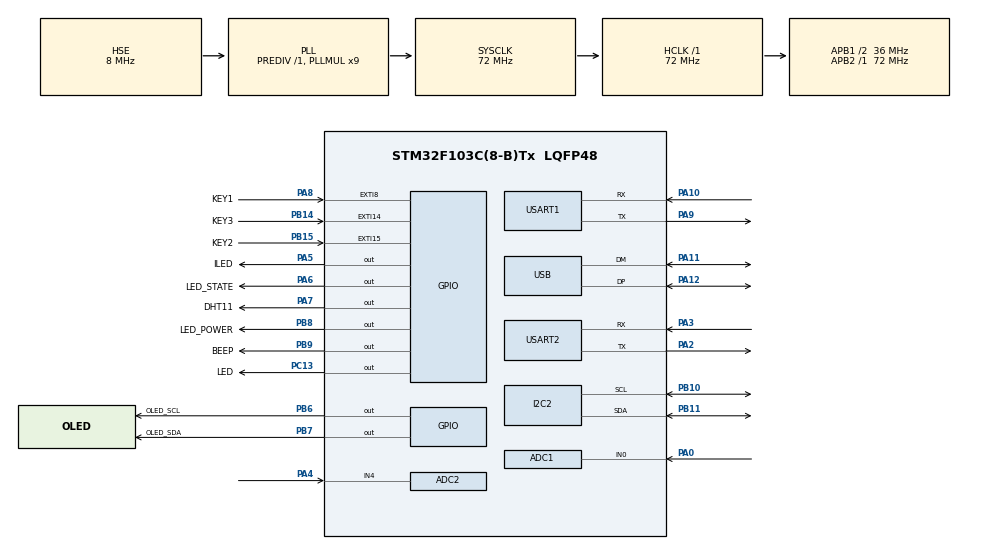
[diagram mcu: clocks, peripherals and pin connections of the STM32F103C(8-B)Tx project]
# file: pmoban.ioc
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ADC1.Channel-0\#ChannelRegularConversion=ADC_CHANNEL_0
ADC1.ContinuousConvMode=DISABLE
ADC1.DiscontinuousConvMode=DISABLE
ADC1.NbrOfConversion=1
ADC1.NbrOfConversionFlag=1
ADC1.Rank-0\#ChannelRegularConversion=1
ADC1.SamplingTime-0\#ChannelRegularConversion=ADC_SAMPLETIME_55CYCLES_5
ADC1.master=1
ADC2.Channel-0\#ChannelRegularConversion=ADC_CHANNEL_4
ADC2.NbrOfConversion=1
ADC2.NbrOfConversionFlag=1
ADC2.Rank-0\#ChannelRegularConversion=1
ADC2.SamplingTime-0\#ChannelRegularConversion=ADC_SAMPLETIME_239CYCLES_5
Dma.ADC1.1.Direction=DMA_PERIPH_TO_MEMORY
Dma.ADC1.1.Instance=DMA1_Channel1
Dma.ADC1.1.MemDataAlignment=DMA_MDATAALIGN_HALFWORD
Dma.ADC1.1.MemInc=DMA_MINC_ENABLE
Dma.ADC1.1.Mode=DMA_CIRCULAR
Dma.ADC1.1.PeriphDataAlignment=DMA_PDATAALIGN_HALFWORD
Dma.ADC1.1.PeriphInc=DMA_PINC_DISABLE
Dma.ADC1.1.Priority=DMA_PRIORITY_LOW
Dma.Request0=USART2_RX
Dma.Request1=ADC1
Dma.USART2_RX.0.Direction=DMA_PERIPH_TO_MEMORY
Dma.USART2_RX.0.Instance=DMA1_Channel6
Dma.USART2_RX.0.MemDataAlignment=DMA_MDATAALIGN_BYTE
Dma.USART2_RX.0.MemInc=DMA_MINC_ENABLE
Dma.USART2_RX.0.Mode=DMA_NORMAL
Dma.USART2_RX.0.PeriphDataAlignment=DMA_PDATAALIGN_BYTE
Dma.USART2_RX.0.PeriphInc=DMA_PINC_DISABLE
Dma.USART2_RX.0.Priority=DMA_PRIORITY_LOW
Mcu.Family=STM32F1
Mcu.Name=STM32F103C(8-B)Tx
Mcu.Package=LQFP48
NVIC.DMA1_Channel1_IRQn=true\:0\:0\:false\:false\:true\:false\:true\:true
NVIC.DMA1_Channel6_IRQn=true\:0\:0\:false\:false\:true\:false\:true\:true
NVIC.EXTI15_10_IRQn=true\:0\:0\:false\:false\:true\:true\:true\:true
NVIC.EXTI9_5_IRQn=true\:0\:0\:true\:false\:true\:true\:true\:true
NVIC.PriorityGroup=NVIC_PRIORITYGROUP_4
NVIC.TIM2_IRQn=true\:1\:0\:true\:false\:true\:true\:true\:true
NVIC.TIM3_IRQn=true\:2\:0\:true\:false\:true\:true\:true\:true
NVIC.USART1_IRQn=true\:0\:0\:false\:false\:true\:true\:true\:true
NVIC.USART2_IRQn=true\:0\:0\:false\:false\:true\:true\:true\:true
NVIC.USB_LP_CAN1_RX0_IRQn=true\:0\:0\:false\:false\:true\:false\:true\:true
PA0-WKUP.Signal=ADCx_IN0
PA10.Mode=Asynchronous
PA10.Signal=USART1_RX
PA11.Mode=Device
PA11.Signal=USB_DM
PA12.Mode=Device
PA12.Signal=USB_DP
PA13.Mode=Serial_Wire
PA13.Signal=SYS_JTMS-SWDIO
PA14.Mode=Serial_Wire
PA14.Signal=SYS_JTCK-SWCLK
PA2.Mode=Asynchronous
PA2.Signal=USART2_TX
PA3.Mode=Asynchronous
PA3.Signal=USART2_RX
PA4.Signal=ADCx_IN4
PA5.GPIO_Label=ILED
PA5.Signal=GPIO_Output
PA6.GPIO_Label=LED_STATE
PA6.Signal=GPIO_Output
PA7.GPIO_Label=DHT11
PA7.Signal=GPIO_Output
PA8.GPIO_Label=KEY1
PA8.GPIO_ModeDefaultEXTI=GPIO_MODE_IT_FALLING
PA8.GPIO_PuPd=GPIO_PULLUP
PA8.Signal=GPXTI8
PA9.Mode=Asynchronous
PA9.Signal=USART1_TX
PB10.Mode=I2C
PB10.Signal=I2C2_SCL
PB11.Mode=I2C
PB11.Signal=I2C2_SDA
PB14.GPIO_Label=KEY3
PB14.GPIO_ModeDefaultEXTI=GPIO_MODE_IT_FALLING
PB14.GPIO_PuPd=GPIO_PULLUP
PB14.Signal=GPXTI14
PB15.GPIO_Label=KEY2
PB15.GPIO_ModeDefaultEXTI=GPIO_MODE_IT_FALLING
PB15.GPIO_PuPd=GPIO_PULLUP
PB15.Signal=GPXTI15
PB6.GPIO_Label=OLED_SCL
PB6.GPIO_ModeDefaultOutputPP=GPIO_MODE_OUTPUT_OD
PB6.GPIO_PuPd=GPIO_PULLUP
PB6.GPIO_Speed=GPIO_SPEED_FREQ_HIGH
PB6.PinState=GPIO_PIN_SET
PB6.Signal=GPIO_Output
PB7.GPIO_Label=OLED_SDA
PB7.GPIO_ModeDefaultOutputPP=GPIO_MODE_OUTPUT_OD
PB7.GPIO_PuPd=GPIO_PULLUP
PB7.GPIO_Speed=GPIO_SPEED_FREQ_HIGH
PB7.PinState=GPIO_PIN_SET
PB7.Signal=GPIO_Output
PB8.GPIO_Label=LED_POWER
PB8.Signal=GPIO_Output
PB9.GPIO_Label=BEEP
PB9.GPIO_PuPd=GPIO_PULLUP
PB9.Signal=GPIO_Output
PC13-TAMPER-RTC.GPIO_Label=LED
PC13-TAMPER-RTC.Signal=GPIO_Output
PC14-OSC32_IN.Mode=LSE-External-Oscillator
PC14-OSC32_IN.Signal=RCC_OSC32_IN
PC15-OSC32_OUT.Mode=LSE-External-Oscillator
PC15-OSC32_OUT.Signal=RCC_OSC32_OUT
PD0-OSC_IN.Mode=HSE-External-Oscillator
PD0-OSC_IN.Signal=RCC_OSC_IN
PD1-OSC_OUT.Mode=HSE-External-Oscillator
PD1-OSC_OUT.Signal=RCC_OSC_OUT
ProjectManager.HeapSize=0x800
ProjectManager.StackSize=0x800
ProjectManager.TargetToolchain=MDK-ARM V5
RCC.ADCPresc=RCC_ADCPCLK2_DIV6
RCC.AHBFreq_Value=72000000
RCC.APB1CLKDivider=RCC_HCLK_DIV2
RCC.APB1Freq_Value=36000000
RCC.APB1TimFreq_Value=72000000
RCC.APB2Freq_Value=72000000
RCC.APB2TimFreq_Value=72000000
RCC.HCLKFreq_Value=72000000
RCC.PLLMUL=RCC_PLL_MUL9
RCC.PLLSourceVirtual=RCC_PLLSOURCE_HSE
RCC.SYSCLKFreq_VALUE=72000000
RCC.SYSCLKSource=RCC_SYSCLKSOURCE_PLLCLK
RCC.USBFreq_Value=48000000
RCC.USBPrescaler=RCC_USBCLKSOURCE_PLL_DIV1_5
SH.ADCx_IN0.0=ADC1_IN0,IN0
SH.ADCx_IN4.0=ADC2_IN4,IN4
TIM2.Period=1000-1
TIM2.Prescaler=71
TIM3.Period=1000-1
TIM3.Prescaler=71
USART1.VirtualMode=VM_ASYNC
USART2.VirtualMode=VM_ASYNC
USB_DEVICE.CLASS_NAME_FS=CDC
USB_DEVICE.VirtualMode=Cdc
USB_DEVICE.VirtualModeFS=Cdc_FS
VP_IWDG_VS_IWDG.Mode=IWDG_Activate
VP_TIM2_VS_ClockSourceINT.Mode=Internal
VP_TIM3_VS_ClockSourceINT.Mode=Internal
VP_USB_DEVICE_VS_USB_DEVICE_CDC_FS.Mode=CDC_FS
board=custom

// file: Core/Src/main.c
/* USER CODE BEGIN Header */
/**
  ******************************************************************************
  * @file           : main.c
  * @brief          : Main program body
  ******************************************************************************
  * @attention
  *
  * Copyright (c) 2025 STMicroelectronics.
  * All rights reserved.
  *
  * This software is licensed under terms that can be found in the LICENSE file
  * in the root directory of this software component.
  * If no LICENSE file comes with this software, it is provided AS-IS.
  *
  ******************************************************************************
  */
/* USER CODE END Header */
#include "main.h"
#include "adc.h"
#include "dma.h"
#include "i2c.h"
#include "iwdg.h"
#include "tim.h"
#include "usart.h"
#include "usb_device.h"
#include "gpio.h"

/* USER CODE BEGIN Includes */
#include "OLED.h"
#include <stdlib.h>
#include "string.h"
#include "dht11.h"
#include "button.h"
#include "beep.h"
#include "mqt135.h"
#include <string.h>
#include "My_esp8266.h"
#include "cjson.h"
#include "bmp180.h"
#include "pm25_sensor.h"

//#include "DATA.h"
/* USER CODE END Includes */

/* USER CODE BEGIN PM */

// 共享的环境数据
float temperature = 1.0;
float density = 1.0;
uint8_t humidity = 1;
uint16_t airQuality = 0;

// 共享的报警阈值
uint8_t selectedThresholdIndex = 0; // 默认选中第 0 行（温度）

float tempThreshold = 30.0;
uint8_t humiThreshold = 60;
uint16_t airQThreshold = 200;
int pressThreshold = 1010;
float pm25Threshold = 75.0;

//BMP180Data_T g_tBMP180 = {0};
uint8_t ThresholdsChanged = 1; // 阈值是否被改变
uint8_t not_init = 1; // 是否初始化完成，初始化完成才显示数据页面
uint8_t BEEP_STATUS = 0;// 0关闭蜂鸣器 1打开
/* USER CODE END PM */

/* USER CODE BEGIN PV */

// ------- ESP8266 -------------
uint8_t esp_buff[1024] = {0};
uint16_t esp_cnt = 0;
// ------- ESP8266 -------------

volatile OLED_Page_t currentPage = PAGE_SENSOR_DATA; // OLED 页数 变量定义

/* USER CODE END PV */

void SystemClock_Config(void);
/* USER CODE BEGIN PFP */

// 发送到阿里云的数据模型
typedef struct {
    float temp;
    uint8_t humi;
    uint16_t airque;
    uint16_t airpress;
    float PM;
} SensorData;

void Ali_Yun_Send(SensorData *sensor);
/* USER CODE END PFP */

/* USER CODE BEGIN 0 */

#define SYS_VOLTAGE 5.0
float adc1_value,adc2_value;
void Test_ADC_Readings(void) {
    uint32_t adc1_value, adc2_value;
    float voltage1, voltage2;

    // 读取 ADC1
    HAL_ADC_Start(&hadc1);  // 启动 ADC1
    HAL_ADC_PollForConversion(&hadc1, HAL_MAX_DELAY);  // 等待转换完成
    adc1_value = HAL_ADC_GetValue(&hadc1);  // 获取 ADC1 值
    HAL_ADC_Stop(&hadc1);  // 停止 ADC1

    // 读取 ADC2
    HAL_ADC_Start(&hadc2);  // 启动 ADC2
    HAL_ADC_PollForConversion(&hadc2, HAL_MAX_DELAY);  // 等待转换完成
    adc2_value = HAL_ADC_GetValue(&hadc2);  // 获取 ADC2 值
    HAL_ADC_Stop(&hadc2);  // 停止 ADC2

    // 计算电压
    voltage1 = (SYS_VOLTAGE / 4096.0) * adc1_value;
    voltage2 = (SYS_VOLTAGE / 4096.0) * adc2_value;

    // 打印 ADC 结果
    printf("ADC1 Value: %lu, Voltage: %.3f V\n", adc1_value, voltage1);
    printf("ADC2 Value: %lu, Voltage: %.3f V\n", adc2_value, voltage2);
}

/* USER CODE END 0 */

int main(void)
{

  /* MCU Configuration--------------------------------------------------------*/

  /* Reset of all peripherals, Initializes the Flash interface and the Systick. */
  HAL_Init();

  /* Configure the system clock */
  SystemClock_Config();

  /* Initialize all configured peripherals */
  MX_GPIO_Init();
  MX_DMA_Init();
  MX_TIM2_Init();
  MX_USART1_UART_Init();
  MX_TIM3_Init();
  MX_USART2_UART_Init();
  MX_ADC1_Init();
  MX_I2C2_Init();
  MX_ADC2_Init();
  MX_IWDG_Init();
  MX_USB_DEVICE_Init();
  /* USER CODE BEGIN 2 */
  HAL_TIM_Base_Start_IT(&htim2); // 开启中断
  HAL_TIM_Base_Start_IT(&htim3); // 开启中断
  BMP180_Init();
  PM25_Init(); // 初始化 PM2.5 传感器
  OLED_Init(); // OLED 初始化
  HAL_Delay(300);

  OLED_Clear();
  OLED_ShowString(2, 0, "Init WIFI ...", OLED_8X16);

  OLED_Update();
  // -------阿里云MQTT初始化-----------
  ESP8266_Init();
  Ali_Yun_Init();
  SensorData sensor = {25.5, 20, 88, 99, 0.7}; // 传感器数据
  // -------阿里云MQTT初始化-----------
  HAL_GPIO_WritePin(LED_STATE_GPIO_Port, LED_STATE_Pin, GPIO_PIN_SET); // 状态灯显示
  HAL_GPIO_WritePin(LED_POWER_GPIO_Port, LED_POWER_Pin, GPIO_PIN_SET); // 传输指示显示
  HAL_Delay(500);

 //---------------------
   not_init = 0; // 初始化都完成 进行数据显示
   ThresholdsChanged = 1;
  /* USER CODE END 2 */

  /* Infinite loop */
  /* USER CODE BEGIN WHILE */
  while (1)
  {
    HAL_GPIO_TogglePin(LED_POWER_GPIO_Port, LED_POWER_Pin);
    readData();  // 读取传感器数据
    CheckThreshold(); // 阈值检测开启报警

    // 更新传感器数据
    sensor.temp = temperature;
    sensor.humi = humidity;
    sensor.airque = airQuality;
    sensor.airpress = (int)(g_tBMP180.fPressure / 100);
    sensor.PM = density;
       // 检查新数据标志位
    if (newDataFlag)
    {
        // 调用解析函数
        Ali_Yun_GetRCV();
        newDataFlag = 0;  // 重置标志位
    }
    // 发送传感器数据到云端
    Ali_Yun_Send(&sensor);
    HAL_Delay(1000);  // 控制发送频率
    Send_Thresholds(); // 发送当前阈值设置

    /* USER CODE END WHILE */

  }
}

void SystemClock_Config(void)
{
  RCC_OscInitTypeDef RCC_OscInitStruct = {0};
  RCC_ClkInitTypeDef RCC_ClkInitStruct = {0};
  RCC_PeriphCLKInitTypeDef PeriphClkInit = {0};

  /** Initializes the RCC Oscillators according to the specified parameters
  * in the RCC_OscInitTypeDef structure.
  */
  RCC_OscInitStruct.OscillatorType = RCC_OSCILLATORTYPE_LSI|RCC_OSCILLATORTYPE_HSE;
  RCC_OscInitStruct.HSEState = RCC_HSE_ON;
  RCC_OscInitStruct.HSEPredivValue = RCC_HSE_PREDIV_DIV1;
  RCC_OscInitStruct.HSIState = RCC_HSI_ON;
  RCC_OscInitStruct.LSIState = RCC_LSI_ON;
  RCC_OscInitStruct.PLL.PLLState = RCC_PLL_ON;
  RCC_OscInitStruct.PLL.PLLSource = RCC_PLLSOURCE_HSE;
  RCC_OscInitStruct.PLL.PLLMUL = RCC_PLL_MUL9;
  if (HAL_RCC_OscConfig(&RCC_OscInitStruct) != HAL_OK)
  {
    Error_Handler();
  }

  /** Initializes the CPU, AHB and APB buses clocks
  */
  RCC_ClkInitStruct.ClockType = RCC_CLOCKTYPE_HCLK|RCC_CLOCKTYPE_SYSCLK
                              |RCC_CLOCKTYPE_PCLK1|RCC_CLOCKTYPE_PCLK2;
  RCC_ClkInitStruct.SYSCLKSource = RCC_SYSCLKSOURCE_PLLCLK;
  RCC_ClkInitStruct.AHBCLKDivider = RCC_SYSCLK_DIV1;
  RCC_ClkInitStruct.APB1CLKDivider = RCC_HCLK_DIV2;
  RCC_ClkInitStruct.APB2CLKDivider = RCC_HCLK_DIV1;

  if (HAL_RCC_ClockConfig(&RCC_ClkInitStruct, FLASH_LATENCY_2) != HAL_OK)
  {
    Error_Handler();
  }
  PeriphClkInit.PeriphClockSelection = RCC_PERIPHCLK_ADC|RCC_PERIPHCLK_USB;
  PeriphClkInit.AdcClockSelection = RCC_ADCPCLK2_DIV6;
  PeriphClkInit.UsbClockSelection = RCC_USBCLKSOURCE_PLL_DIV1_5;
  if (HAL_RCCEx_PeriphCLKConfig(&PeriphClkInit) != HAL_OK)
  {
    Error_Handler();
  }
}

/* USER CODE BEGIN 4 */

//阿里云数据上传
/*
    sensor.temp = temperature; // 四舍五入到一位小数
    sensor.humi = humidity;     // 更新湿度
    sensor.airque = airQuality; // 更新空气质量
    sensor.airpress =  (int)(g_tBMP180.fPressure / 100);
    sensor.PM = density;
*/
void Send_Thresholds(void) {
    if(!ThresholdsChanged) return;
    char json_buf[256];  // JSON 数据缓冲区
    char msg_buf[512];   // AT 指令缓冲区

    // 1. 创建 cJSON 对象
    cJSON *root = cJSON_CreateObject();
    if (root == NULL) {
        printf("Error creating JSON object.\n");
        return;  // 错误处理
    }

    cJSON *params = cJSON_CreateObject();
    if (params == NULL) {
        cJSON_Delete(root);
        printf("Error creating JSON params object.\n");
        return;  // 错误处理
    }

    cJSON_AddItemToObject(root, "params", params);

    // 2. 添加阈值数据
    cJSON_AddNumberToObject(params, "tempThreshold", tempThreshold); // 温度阈值
    cJSON_AddNumberToObject(params, "humiThreshold", humiThreshold); // 湿度阈值
    cJSON_AddNumberToObject(params, "airQThreshold", airQThreshold); // 空气质量阈值
    cJSON_AddNumberToObject(params, "pressThreshold", pressThreshold); // 压力阈值
    cJSON_AddNumberToObject(params, "pm25Threshold", pm25Threshold); // PM2.5 阈值

    // 3. 生成 JSON 字符串
    char *json_str = cJSON_PrintUnformatted(root);
    cJSON_Delete(root); // 释放 JSON 对象

    if (json_str == NULL) {
        printf("Error creating JSON string.\n");
        return;  // 错误处理
    }

    // 4. 手动替换逗号 "," 和双引号 "\"" 为 "\,"
    int i, j = 0;
    for (i = 0; json_str[i] != '\0'; i++) {
        if (json_str[i] == ',' || json_str[i] == '\"') {
            json_buf[j++] = '\\';  // 插入转义字符 "\"
        }
        json_buf[j++] = json_str[i];
    }
    json_buf[j] = '\0'; // 确保字符串以 null 结尾

    // 5. 组合 AT 指令
    snprintf(msg_buf, sizeof(msg_buf),
             "AT+MQTTPUB=0,\"/sys/k282yy0B25v/ESP8266_dev/thing/event/property/post\",\"%s\",0,0\r\n",
             json_buf);

    // 6. 调试输出 & 发送数据
    //printf("调试 JSON: %s\n", json_buf);
    //printf("开始发送数据: %s\r\n", msg_buf);
    ESP8266_SendCmd(msg_buf, "OK");
    ESP8266_Clear();

    // 7. 释放 JSON 字符串
    free(json_str);
    ThresholdsChanged = 0;
}

void Ali_Yun_Send(SensorData *sensor) {
    char json_buf[128];
    char msg_buf[256];
    char tempStr[10];
    char PMStr[10];

    // 1. 格式化温度，保留一位小数
    snprintf(tempStr, sizeof(tempStr), "%.1f", sensor->temp);
    // 1. 格式化PM，保留两位小数
    snprintf(PMStr, sizeof(PMStr), "%.2f", sensor->PM);

    // 2. 创建 cJSON 对象
    cJSON *root = cJSON_CreateObject();
    cJSON *params = cJSON_CreateObject();
    cJSON_AddItemToObject(root, "params", params);

    // 使用格式化后的浮点数值而非字符串
    cJSON_AddNumberToObject(params, "temp", atof(tempStr)); // 转换为浮点数
    cJSON_AddNumberToObject(params, "humi", sensor->humi);
    cJSON_AddNumberToObject(params, "airque", sensor->airque);
    cJSON_AddNumberToObject(params, "airpress", sensor->airpress);
    cJSON_AddNumberToObject(params, "PM", atof(PMStr));

    // 3. 生成 JSON 字符串
    char *json_str = cJSON_PrintUnformatted(root);
    cJSON_Delete(root); // 释放 JSON 对象

    // 4. 手动替换逗号 "," 和双引号 "\"" 为 "\,"
    int i, j = 0;
    for (i = 0; json_str[i] != '\0'; i++) {
        if (json_str[i] == ',' || json_str[i] == '\"') {
            json_buf[j++] = '\\';  // 插入转义字符 "\"
        }
        json_buf[j++] = json_str[i];
    }
    json_buf[j] = '\0'; // 确保字符串以 null 结尾

    // 5. 组合 AT 指令
    snprintf(msg_buf, sizeof(msg_buf),
             "AT+MQTTPUB=0,\"/sys/k282yy0B25v/ESP8266_dev/thing/event/property/post\",\"%s\",0,0\r\n",
             json_buf);

    // 6. 调试输出 & 发送数据
    //printf("调试 JSON: %s\n", json_buf);
    //printf("开始发送数据: %s\r\n", msg_buf);
    ESP8266_SendCmd(msg_buf, "OK");
    ESP8266_Clear();

    // 7. 释放 JSON 字符串
    free(json_str);
}

/// 定义最大尝试次数
#define MAX_RETRY_COUNT 3

// MQTT 数据解析函数
void Ali_Yun_GetRCV(void)
{
    cJSON *cjson = NULL;
    int num;
    char topic_buff[256];
    char recv_buffer[ESPBUFF_MAX_SIZE];
    char *ptr_recv = strstr((const char *)esp_buff, "+MQTTSUBRECV");

    if (ptr_recv != NULL)  // 存在接收到的 MQTT 订阅消息
    {
        memset(topic_buff, 0, sizeof(topic_buff));
        sscanf((char *)esp_buff, "+MQTTSUBRECV:0,%[^,],%d,%s", topic_buff, &num, recv_buffer);

        if (strstr(topic_buff, ALI_TOPIC_SET))  // 确认接收到的主题是指定主题
        {
            int retry_count = 0;
            while (retry_count < MAX_RETRY_COUNT)
            {
                cjson = cJSON_Parse(recv_buffer);
                if (cjson != NULL)  // 解析成功
                {
                    cJSON *items = cJSON_GetObjectItem(cjson, "items");
                    if (items != NULL)  // 如果找到 items 对象
                    {
                        // 解析温度阈值
                        cJSON *tempThresholdItem = cJSON_GetObjectItem(items, "tempThreshold");
                        if (tempThresholdItem != NULL)
                        {
                            cJSON *value = cJSON_GetObjectItem(tempThresholdItem, "value");
                            if (value != NULL && cJSON_IsNumber(value))
                            {
                                tempThreshold = (float)value->valuedouble;
                            }
                        }

                        // 解析湿度阈值
                        cJSON *humiThresholdItem = cJSON_GetObjectItem(items, "humiThreshold");
                        if (humiThresholdItem != NULL)
                        {
                            cJSON *value = cJSON_GetObjectItem(humiThresholdItem, "value");
                            if (value != NULL && cJSON_IsNumber(value))
                            {
                                humiThreshold = (uint8_t)value->valueint;
                            }
                        }

                        // 解析空气质量阈值
                        cJSON *airQThresholdItem = cJSON_GetObjectItem(items, "airQThreshold");
                        if (airQThresholdItem != NULL)
                        {
                            cJSON *value = cJSON_GetObjectItem(airQThresholdItem, "value");
                            if (value != NULL && cJSON_IsNumber(value))
                            {
                                airQThreshold = (uint16_t)value->valueint;
                            }
                        }

                        // 解析气压阈值
                        cJSON *pressThresholdItem = cJSON_GetObjectItem(items, "pressThreshold");
                        if (pressThresholdItem != NULL)
                        {
                            cJSON *value = cJSON_GetObjectItem(pressThresholdItem, "value");
                            if (value != NULL && cJSON_IsNumber(value))
                            {
                                pressThreshold = (int)value->valueint;
                            }
                        }

                        // 解析 PM2.5 阈值
                        cJSON *pm25ThresholdItem = cJSON_GetObjectItem(items, "pm25Threshold");
                        if (pm25ThresholdItem != NULL)
                        {
                            cJSON *value = cJSON_GetObjectItem(pm25ThresholdItem, "value");
                            if (value != NULL && cJSON_IsNumber(value))
                            {
                                pm25Threshold = (float)value->valuedouble;
                            }
                        }

                        break;  // 成功解析，跳出重试循环
                    }
                }
                retry_count++;
                HAL_Delay(100);  // 等待一段时间再重试
            }

            ESP8266_Clear();   // 清空接收缓存
            cJSON_Delete(cjson);  // 释放 cJSON 对象
            ThresholdsChanged = 1;
        }
    }
}

/*
void Ali_Yun_GetRCV(void)
{
    cJSON *cjson = NULL;  // 用于存储解析后的 cJSON 对象
    int num;  // 用于存储订阅消息的字节数
    char topic_buff[256];  // 存储订阅的主题
    char recv_buffer[ESPBUFF_MAX_SIZE];  // 存储接收到的消息内容
    char *ptr_recv = strstr((const char *)esp_buff,"+MQTTSUBRECV");  // 查找接收到的订阅消息标识符 "+MQTTSUBRECV"

    // 如果找到了订阅消息标识符
    if(ptr_recv != NULL)  // 存在接收到的MQTT订阅消息
    {
        memset(topic_buff, 0, sizeof(topic_buff));  // 清空 topic_buff
        // 解析接收到的数据，提取主题、字节数和消息内容
        sscanf((char *)esp_buff,"+MQTTSUBRECV:0,%[^,],%d,%s", topic_buff, &num, recv_buffer);

        // 判断主题是否匹配预定义的主题（ALI_TOPIC_SET）
        if(strstr(topic_buff, ALI_TOPIC_SET))  // 判断接收到的主题是否是指定的主题
        {
            printf("========================数据解析开始===========================\r\n");
            printf("接收数据成功，开始解析  %s\r\n", recv_buffer);

            // 使用 cJSON 解析接收到的消息内容
            cjson = cJSON_Parse(recv_buffer);

            // 如果 cJSON 解析失败
            if(cjson == NULL)
            {
                printf("cjson 解析错误\r\n");
                cjson_err_num++;  // 增加解析错误次数
                if(cjson_err_num > 3)  // 如果连续解析错误超过 3 次
                {
                    ESP8266_Clear();  // 清空接收缓存
                    cjson_err_num = 0;  // 重置解析错误次数
                }
                printf("========================数据解析失败===========================\r\n");
            }
            else
            {
                // 解析成功，获取 JSON 数据中的 "params" 对象
                cJSON *json_data = NULL;
                json_data = cJSON_GetObjectItem(cjson, "params");
                cjson_err_num = 0;  // 解析成功，重置解析错误次数

                // 如果 "params" 对象不存在
                if(json_data == NULL)
                {
                    printf("cjson 没有数据\r\n");
                    return;  // 如果没有数据，则直接返回
                }
                else
                {
                    // 输出解析后的 JSON 内存大小（不代表数据量，只是内存空间大小）
                    printf("cjson 内存大小为 = %d\r\n", sizeof(cjson));

                    // 解析数据部分
                    if(cJSON_GetObjectItem(json_data, "temperature") != NULL)  // 判断是否包含 "temperature" 字段
                    {
                        temp_value = cJSON_GetObjectItem(json_data, "temperature")->valuedouble;  // 获取温度值
                        printf("cjson 解析成功 temp_value = %f\r\n", temp_value);  // 输出温度值
                    }

                    if(cJSON_GetObjectItem(json_data, "Humidity") != NULL)  // 判断是否包含 "Humidity" 字段
                    {
                        humi_value = cJSON_GetObjectItem(json_data, "Humidity")->valuedouble;  // 获取湿度值
                        printf("cjson 解析成功 Humidity = %f\r\n", humi_value);  // 输出湿度值
                    }
                }
                ESP8266_Clear();  // 清空接收缓存
                cJSON_Delete(cjson);  // 释放 cJSON 对象
                printf("========================数据解析成功===========================\r\n");
            }
        }
    }
}
*/

// PAGE 1数据显示
void Display_SensorData(void) {
    char buffer[5][20]; // 存储格式化后的字符串

    sprintf(buffer[0], "Temp:   %.1f C", temperature);   // 温度（摄氏度）
    sprintf(buffer[1], "Humi:   %u RH%%", humidity);       // 湿度（百分比）
    sprintf(buffer[2], "AirQ:   %u ppm", airQuality);    // 空气质量（ppm）
    sprintf(buffer[3], "Press:  %d hPa", (int)(g_tBMP180.fPressure / 100)); // 气压（hPa）
    sprintf(buffer[4], "PM2.5:  %.2f ug/m3", density);   // PM2.5 浓度（ug/m3）

    // 清除 OLED 显示，避免残留
    OLED_Clear();

    // 逐行显示传感器数据
    for (int i = 0; i < 5; i++) {
        OLED_ShowString(2, i * 10, buffer[i], OLED_6X8);
    }
}

// 阈值显示
// PAGE 2 显示阈值设定
// PAGE 2 显示阈值设定，支持闪烁显示
void Display_Thresholds(void) {
    char buffer[5][20]; // 存储格式化后的字符串

    sprintf(buffer[0], "Temp Th:  %.1f C", tempThreshold);    // 温度阈值
    sprintf(buffer[1], "Humi Th:  %u RH%%", humiThreshold);     // 湿度阈值
    sprintf(buffer[2], "AirQ Th:  %u ppm", airQThreshold);    // 空气质量阈值
    sprintf(buffer[3], "Press Th: %d hPa", pressThreshold);   // 气压阈值
    sprintf(buffer[4], "PM2.5 Th: %.2f ug/m3", pm25Threshold); // PM2.5 阈值

    // 清除 OLED 显示，避免残留
    OLED_Clear();

    // 获取当前系统时间
    uint32_t currentTime = HAL_GetTick();

    // 逐行显示阈值设定
    for (int i = 0; i < 5; i++) {
        if (i == selectedThresholdIndex) {
            // 让当前选中的行每 500ms 闪烁一次
            if ((currentTime / 500) % 2 == 0) {
                OLED_ShowString(2, i * 10, buffer[i], OLED_6X8);
            }
        } else {
            OLED_ShowString(2, i * 10, buffer[i], OLED_6X8);
        }
    }
}

void Display_BeepStatus(void) {
    OLED_ShowString(2, 0, "Page Three", OLED_6X8);
    OLED_ShowString(2, 10, "More data here", OLED_6X8);

    // 显示蜂鸣器状态
    if (beep_enabled) {
        OLED_ShowString(2, 20, "BEEP: ON", OLED_6X8);
    } else {
        OLED_ShowString(2, 20, "BEEP: OFF", OLED_6X8);
    }
}

void showData(void) {
    if (not_init == 1) return;
    OLED_Clear();

    switch (currentPage) {
        case PAGE_SENSOR_DATA:  // 传感器数据页面
            Display_SensorData();
            break;

        case PAGE_ALARM_THRESHOLDS:  // 报警阈值页面
            Display_Thresholds();
            break;

        case PAGE_THREE:  // 第三页
            Display_BeepStatus();
            break;
    }

    OLED_Update();
}

void readData(void){
    // 气体质量
    MQ135_Init();
    MQ135_ReadData(&airQuality);
    // 温\湿度
    DHT11_Read_Data(&temperature, &humidity);
    // 气压
    BMP180_StartPressureSample();
    HAL_Delay(10);
    BMP180_GetTemp(&g_tBMP180);
    BMP180_StartPressureSample();
    HAL_Delay(100);
    BMP180_GetPressureAltitude(&g_tBMP180);
    // PM2.5检测
    density = PM25_ReadDensity();
}

/* USER CODE END 4 */

void Error_Handler(void)
{
  __disable_irq();
  while (1)
  {
  }
}
